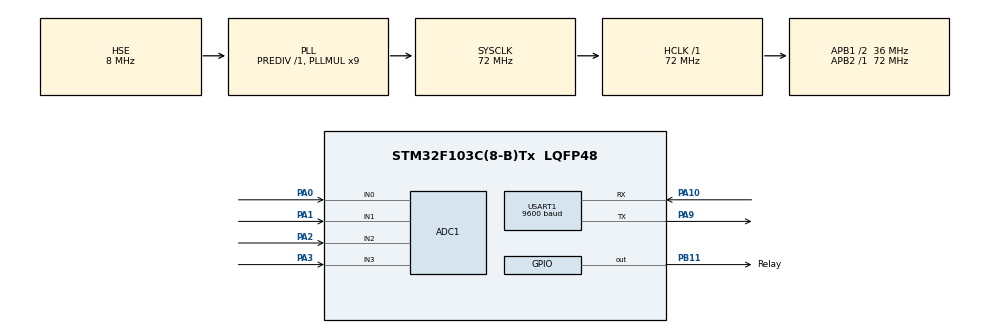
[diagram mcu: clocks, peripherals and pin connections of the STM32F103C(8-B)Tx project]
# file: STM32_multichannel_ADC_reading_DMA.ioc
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ADC1.Channel-0\#ChannelRegularConversion=ADC_CHANNEL_0
ADC1.Channel-1\#ChannelRegularConversion=ADC_CHANNEL_1
ADC1.Channel-2\#ChannelRegularConversion=ADC_CHANNEL_2
ADC1.Channel-3\#ChannelRegularConversion=ADC_CHANNEL_3
ADC1.ContinuousConvMode=ENABLE
ADC1.NbrOfConversion=4
ADC1.NbrOfConversionFlag=1
ADC1.Rank-0\#ChannelRegularConversion=1
ADC1.Rank-1\#ChannelRegularConversion=2
ADC1.Rank-2\#ChannelRegularConversion=3
ADC1.Rank-3\#ChannelRegularConversion=4
ADC1.SamplingTime-0\#ChannelRegularConversion=ADC_SAMPLETIME_1CYCLE_5
ADC1.SamplingTime-1\#ChannelRegularConversion=ADC_SAMPLETIME_1CYCLE_5
ADC1.SamplingTime-2\#ChannelRegularConversion=ADC_SAMPLETIME_1CYCLE_5
ADC1.SamplingTime-3\#ChannelRegularConversion=ADC_SAMPLETIME_1CYCLE_5
ADC1.master=1
Dma.ADC1.0.Direction=DMA_PERIPH_TO_MEMORY
Dma.ADC1.0.Instance=DMA1_Channel1
Dma.ADC1.0.MemDataAlignment=DMA_MDATAALIGN_WORD
Dma.ADC1.0.MemInc=DMA_MINC_ENABLE
Dma.ADC1.0.Mode=DMA_CIRCULAR
Dma.ADC1.0.PeriphDataAlignment=DMA_PDATAALIGN_WORD
Dma.ADC1.0.PeriphInc=DMA_PINC_DISABLE
Dma.ADC1.0.Priority=DMA_PRIORITY_LOW
Dma.Request0=ADC1
Dma.Request1=USART1_TX
Dma.Request2=USART1_RX
Dma.USART1_RX.2.Direction=DMA_PERIPH_TO_MEMORY
Dma.USART1_RX.2.Instance=DMA1_Channel5
Dma.USART1_RX.2.MemDataAlignment=DMA_MDATAALIGN_BYTE
Dma.USART1_RX.2.MemInc=DMA_MINC_ENABLE
Dma.USART1_RX.2.Mode=DMA_NORMAL
Dma.USART1_RX.2.PeriphDataAlignment=DMA_PDATAALIGN_BYTE
Dma.USART1_RX.2.PeriphInc=DMA_PINC_DISABLE
Dma.USART1_RX.2.Priority=DMA_PRIORITY_MEDIUM
Dma.USART1_TX.1.Direction=DMA_MEMORY_TO_PERIPH
Dma.USART1_TX.1.Instance=DMA1_Channel4
Dma.USART1_TX.1.MemDataAlignment=DMA_MDATAALIGN_BYTE
Dma.USART1_TX.1.MemInc=DMA_MINC_ENABLE
Dma.USART1_TX.1.Mode=DMA_NORMAL
Dma.USART1_TX.1.PeriphDataAlignment=DMA_PDATAALIGN_BYTE
Dma.USART1_TX.1.PeriphInc=DMA_PINC_DISABLE
Dma.USART1_TX.1.Priority=DMA_PRIORITY_MEDIUM
Mcu.Family=STM32F1
Mcu.Name=STM32F103C(8-B)Tx
Mcu.Package=LQFP48
NVIC.DMA1_Channel1_IRQn=true\:0\:0\:false\:false\:true\:false\:true\:true
NVIC.DMA1_Channel4_IRQn=true\:0\:0\:false\:false\:true\:false\:true\:true
NVIC.DMA1_Channel5_IRQn=true\:0\:0\:false\:false\:true\:false\:true\:true
NVIC.PriorityGroup=NVIC_PRIORITYGROUP_4
NVIC.USART1_IRQn=true\:1\:0\:true\:false\:true\:true\:true\:true
PA0-WKUP.Signal=ADCx_IN0
PA1.Signal=ADCx_IN1
PA10.Mode=Asynchronous
PA10.Signal=USART1_RX
PA13.Mode=Serial_Wire
PA13.Signal=SYS_JTMS-SWDIO
PA14.Mode=Serial_Wire
PA14.Signal=SYS_JTCK-SWCLK
PA2.Signal=ADCx_IN2
PA3.Signal=ADCx_IN3
PA9.Mode=Asynchronous
PA9.Signal=USART1_TX
PB11.GPIO_Label=Relay
PB11.Signal=GPIO_Output
PD0-OSC_IN.Mode=HSE-External-Oscillator
PD0-OSC_IN.Signal=RCC_OSC_IN
PD1-OSC_OUT.Mode=HSE-External-Oscillator
PD1-OSC_OUT.Signal=RCC_OSC_OUT
ProjectManager.HeapSize=0x200
ProjectManager.StackSize=0x400
ProjectManager.TargetToolchain=STM32CubeIDE
RCC.ADCPresc=RCC_ADCPCLK2_DIV6
RCC.AHBFreq_Value=72000000
RCC.APB1CLKDivider=RCC_HCLK_DIV2
RCC.APB1Freq_Value=36000000
RCC.APB1TimFreq_Value=72000000
RCC.APB2Freq_Value=72000000
RCC.APB2TimFreq_Value=72000000
RCC.HCLKFreq_Value=72000000
RCC.PLLMUL=RCC_PLL_MUL9
RCC.PLLSourceVirtual=RCC_PLLSOURCE_HSE
RCC.SYSCLKFreq_VALUE=72000000
RCC.SYSCLKSource=RCC_SYSCLKSOURCE_PLLCLK
RCC.USBFreq_Value=72000000
SH.ADCx_IN0.0=ADC1_IN0,IN0
SH.ADCx_IN1.0=ADC1_IN1,IN1
SH.ADCx_IN2.0=ADC1_IN2,IN2
SH.ADCx_IN3.0=ADC1_IN3,IN3
USART1.BaudRate=9600
USART1.VirtualMode=VM_ASYNC
board=custom

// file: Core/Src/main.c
/* USER CODE BEGIN Header */
/**
 ******************************************************************************
 * @file           : main.c
 * @brief          : Main program body
 ******************************************************************************
 * @attention
 *
 * Copyright (c) 2022 STMicroelectronics.
 * All rights reserved.
 *
 * This software is licensed under terms that can be found in the LICENSE file
 * in the root directory of this software component.
 * If no LICENSE file comes with this software, it is provided AS-IS.
 *
 ******************************************************************************
 */
/* USER CODE END Header */
#include "main.h"
#include "adc.h"
#include "dma.h"
#include "usart.h"
#include "gpio.h"

/* USER CODE BEGIN Includes */
#include "string.h"
#include <stdio.h>
#include <stdbool.h>

uint16_t adcBuffer[4];
uint16_t adcBufTemp[4];
uint16_t data0;
uint16_t data1;
uint16_t data2;
uint16_t data3;

#define RxBufferSize 10
uint8_t RxBuffer[RxBufferSize];
extern DMA_HandleTypeDef hdma_usart1_tx;
extern DMA_HandleTypeDef hdma_usart1_rx;
/* USER CODE END Includes */

void SystemClock_Config(void);
/* USER CODE BEGIN PFP */
void HAL_ADC_ConvCpltCallback(ADC_HandleTypeDef* hadc){
	if(hadc->Instance == ADC1){
		data0=adcBuffer[0];
		data1=adcBuffer[1];
		data2=adcBuffer[2];
		data3=adcBuffer[3];
	}
}
/* USER CODE END PFP */

/* Private user code ---------------------------------- -----------------------*/
/* USER CODE BEGIN 0 */
void HAL_UARTEx_RxEventCallback(UART_HandleTypeDef *huart, uint16_t Size){
	if(huart->Instance == USART1){
		HAL_UARTEx_ReceiveToIdle_DMA(&huart1,RxBuffer,RxBufferSize);
		__HAL_DMA_DISABLE_IT(&hdma_usart1_rx, DMA_IT_HT);
	}
}
/* USER CODE END 0 */

int main(void)
{

	/* MCU Configuration--------------------------------------------------------*/

	/* Reset of all peripherals, Initializes the Flash interface and the Systick. */
	HAL_Init();

	/* Configure the system clock */
	SystemClock_Config();

	/* Initialize all configured peripherals */
	MX_GPIO_Init();
	MX_DMA_Init();
	MX_ADC1_Init();
	MX_USART1_UART_Init();
	/* USER CODE BEGIN 2 */
	HAL_ADC_Start_DMA(&hadc1,(uint32_t *)adcBuffer,4); // start the ADC in DMA Mode

	HAL_UARTEx_ReceiveToIdle_DMA(&huart1,RxBuffer,RxBufferSize);
	__HAL_DMA_DISABLE_IT(&hdma_usart1_rx, DMA_IT_HT);

	/* USER CODE END 2 */

	/* Infinite loop */
	while (1)
	{

	}
}

void SystemClock_Config(void)
{
	RCC_OscInitTypeDef RCC_OscInitStruct = {0};
	RCC_ClkInitTypeDef RCC_ClkInitStruct = {0};
	RCC_PeriphCLKInitTypeDef PeriphClkInit = {0};

	/** Initializes the RCC Oscillators according to the specified parameters
	 * in the RCC_OscInitTypeDef structure.
	 */
	RCC_OscInitStruct.OscillatorType = RCC_OSCILLATORTYPE_HSE;
	RCC_OscInitStruct.HSEState = RCC_HSE_ON;
	RCC_OscInitStruct.HSEPredivValue = RCC_HSE_PREDIV_DIV1;
	RCC_OscInitStruct.HSIState = RCC_HSI_ON;
	RCC_OscInitStruct.PLL.PLLState = RCC_PLL_ON;
	RCC_OscInitStruct.PLL.PLLSource = RCC_PLLSOURCE_HSE;
	RCC_OscInitStruct.PLL.PLLMUL = RCC_PLL_MUL9;
	if (HAL_RCC_OscConfig(&RCC_OscInitStruct) != HAL_OK)
	{
		Error_Handler();
	}

	/** Initializes the CPU, AHB and APB buses clocks
	 */
	RCC_ClkInitStruct.ClockType = RCC_CLOCKTYPE_HCLK|RCC_CLOCKTYPE_SYSCLK
			|RCC_CLOCKTYPE_PCLK1|RCC_CLOCKTYPE_PCLK2;
	RCC_ClkInitStruct.SYSCLKSource = RCC_SYSCLKSOURCE_PLLCLK;
	RCC_ClkInitStruct.AHBCLKDivider = RCC_SYSCLK_DIV1;
	RCC_ClkInitStruct.APB1CLKDivider = RCC_HCLK_DIV2;
	RCC_ClkInitStruct.APB2CLKDivider = RCC_HCLK_DIV1;

	if (HAL_RCC_ClockConfig(&RCC_ClkInitStruct, FLASH_LATENCY_2) != HAL_OK)
	{
		Error_Handler();
	}
	PeriphClkInit.PeriphClockSelection = RCC_PERIPHCLK_ADC;
	PeriphClkInit.AdcClockSelection = RCC_ADCPCLK2_DIV6;
	if (HAL_RCCEx_PeriphCLKConfig(&PeriphClkInit) != HAL_OK)
	{
		Error_Handler();
	}
}

void Error_Handler(void)
{
	__disable_irq();
	while (1)
	{
	}
}
